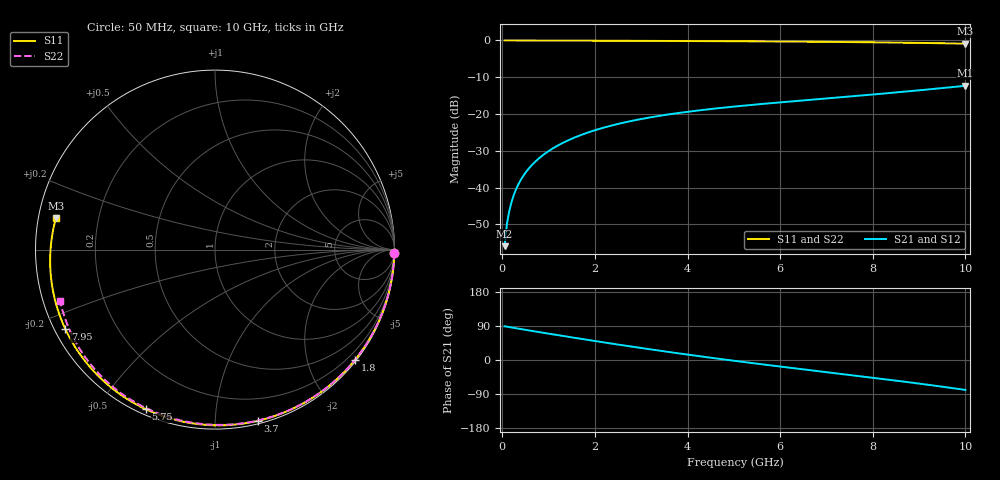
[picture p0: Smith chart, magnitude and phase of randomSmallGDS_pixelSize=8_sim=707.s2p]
! freq	dB(S11)	phase(S11)	dB(S12)	phase(S12)
!  dB(S21)	phase(S21)	dB(S22)	phase(S22)
!S-par simulation data
#  GHz  S  DB  R 50
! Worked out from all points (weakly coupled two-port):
!   200 points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, 50 MHz to 10 GHz, reference 50 ohm
!   highest |S21| = -12.33 dB at 10 GHz (marker M1); lowest = -55.9 dB at 50 MHz (marker M2)
!   lowest |S11| = -0.9 dB at 10 GHz (marker M3), VSWR 19.69, Z = 2.56 + j4.9 ohm
!   |S11| at or under -10 dB: nowhere
!   |S22| runs from -0.8 to 0.0 dB; largest |S21 - S12| = 0
!   S11 on the Smith chart (normalised r, x): 50 MHz: open; 1.8 GHz: 0.03, -2.88; 3.7 GHz: 0.02, -1.28; 5.75 GHz: 0.02, -0.66; 7.95 GHz: 0.03, -0.25; 10 GHz: 0.05, +0.10
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0.05  -0.01 -1.1  -55.91 88.9  -55.91 88.9  -0.01 -1.0
0.1  -0.01 -2.2  -49.89 87.9  -49.89 87.9  -0.01 -1.9
0.15  -0.01 -3.2  -46.37 86.8  -46.37 86.8  -0.01 -2.8
0.2  -0.01 -4.3  -43.88 85.8  -43.88 85.8  -0.01 -3.8
0.35  -0.01 -7.6  -39.04 82.7  -39.04 82.7  -0.01 -6.6
0.5  -0.02 -10.8  -35.97 79.6  -35.97 79.6  -0.01 -9.4
0.7  -0.02 -15.1  -33.09 75.5  -33.09 75.5  -0.02 -13.2
1  -0.03 -21.5  -30.07 69.5  -30.07 69.5  -0.03 -18.8
1.35  -0.04 -28.9  -27.58 62.6  -27.58 62.6  -0.04 -25.3
1.75  -0.06 -37.3  -25.47 54.9  -25.47 54.9  -0.05 -32.6
1.8  -0.06 -38.3  -25.24 53.9  -25.24 53.9  -0.06 -33.5
2.6  -0.09 -54.6  -22.40 38.9  -22.40 38.9  -0.09 -47.8
3.4  -0.13 -70.3  -20.48 24.5  -20.48 24.5  -0.12 -61.6
3.7  -0.15 -76.0  -19.91 19.3  -19.91 19.3  -0.13 -66.6
4.35  -0.18 -88.2  -18.86 8.5  -18.86 8.5  -0.16 -77.3
5.05  -0.22 -101.0  -17.92 -2.7  -17.92 -2.7  -0.20 -88.4
5.75  -0.27 -113.4  -17.11 -13.5  -17.11 -13.5  -0.25 -99.2
6.7  -0.35 -130.0  -16.10 -27.6  -16.10 -27.6  -0.32 -113.4
7.95  -0.50 -152.0  -14.76 -46.0  -14.76 -46.0  -0.46 -131.6
8.35  -0.56 -159.3  -14.31 -52.1  -14.31 -52.1  -0.51 -137.4
9.2  -0.71 -175.2  -13.32 -65.5  -13.32 -65.5  -0.65 -149.7
10  -0.88 168.8  -12.33 -79.0  -12.33 -79.0  -0.83 -161.6
